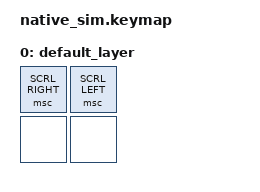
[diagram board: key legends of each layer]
#include <behaviors.dtsi>
#include <behaviors/mouse_move.dtsi>
#include <dt-bindings/zmk/keys.h>
#include <dt-bindings/zmk/input_mock.h>
#include <dt-bindings/zmk/pointing.h>

/ {
    keymap {
        compatible = "zmk,keymap";

        default_layer {
            bindings = <
                &msc SCRL_RIGHT &msc SCRL_LEFT
                &none &none
            >;
        };
    };
};


&mock_input {
    events = <
        ZMK_INPUT_MOCK_PRESS(0,0,500)
        ZMK_INPUT_MOCK_RELEASE(0,0,10)
        ZMK_INPUT_MOCK_PRESS(0,1,500)
        ZMK_INPUT_MOCK_RELEASE(0,1,10)
    >;
};
